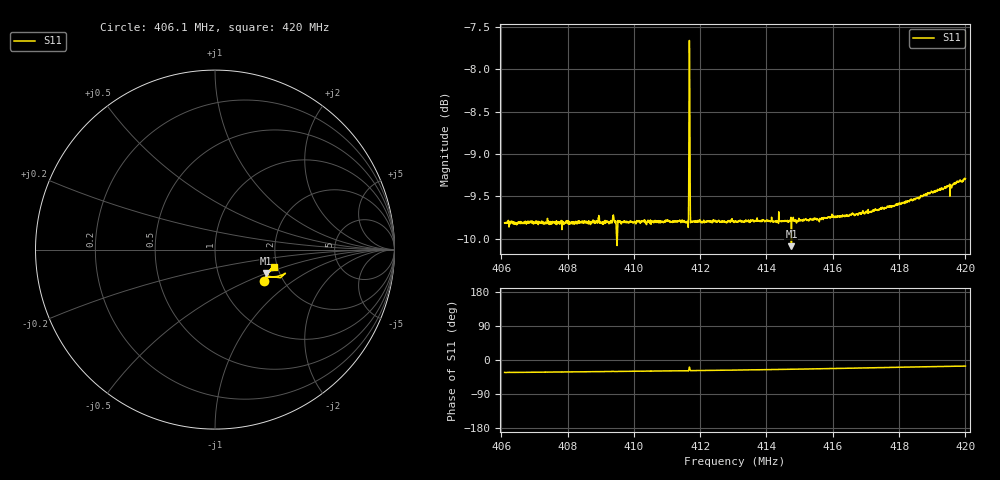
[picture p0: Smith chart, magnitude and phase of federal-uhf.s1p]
! Calibrated averaged scanner-service zoom
# Hz S RI R 50
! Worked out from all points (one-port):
!   2001 points, 406.1 MHz to 420 MHz, reference 50 ohm
!   lowest |S11| = -10.1 dB at 414.75 MHz (marker M1), VSWR 1.91, Z = 85.2 - j24.8 ohm
!   |S11| at or under -10 dB: 409.4804 MHz to 409.5004 MHz (20.08 kHz wide, 0.0049 % of centre); 414.7509 MHz to 414.7546 MHz (3.743 kHz wide, 0.000903 % of centre)
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4.061e8  0.2716 -0.1751
4.078375e8  0.2758 -0.1699
4.089148e8  0.278 -0.1653
4.090538e8  0.2776 -0.1641
4.093596e8  0.2812 -0.1631
4.094012e8  0.28 -0.1636
4.09443e8  0.2794 -0.1626
4.094986e8  0.272 -0.1595
4.095472e8  0.2797 -0.1625
4.09575e8  0.2802 -0.1623
4.113125e8  0.2848 -0.1542
4.115766e8  0.2847 -0.1527
4.115905e8  0.2851 -0.1532
4.116114e8  0.2851 -0.1536
4.116252e8  0.2844 -0.1537
4.117156e8  0.2855 -0.1524
4.117295e8  0.2853 -0.1526
4.117364e8  0.2854 -0.1523
4.117573e8  0.2858 -0.1521
4.117642e8  0.2858 -0.1518
4.117782e8  0.2857 -0.1518
4.1305e8  0.2897 -0.1445
4.147528e8  0.2842 -0.1312
4.147875e8  0.2953 -0.1338
4.16525e8  0.3039 -0.1204
4.171018e8  0.3068 -0.1157
4.182625e8  0.315 -0.1065
4.2e8  0.3298 -0.0949
